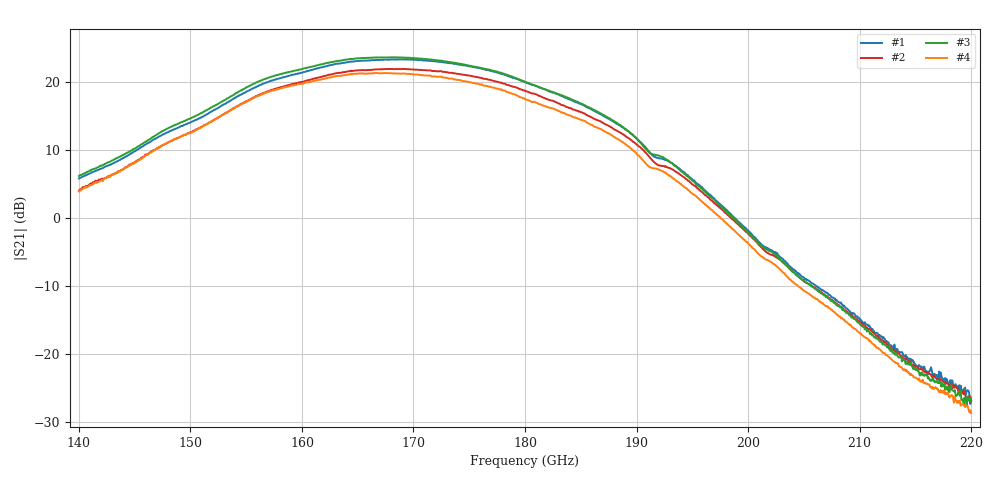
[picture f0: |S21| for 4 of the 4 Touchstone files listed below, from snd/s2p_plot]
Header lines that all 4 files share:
!Correction: S11(C  2-Port  )
!S21(C  2-Port  )
!S12(C  2-Port  )
!S22(C  2-Port  )
!S2P File: Measurements: S11, S21, S12, S22:
# Hz S  RI  R 50
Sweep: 140 GHz to 220 GHz
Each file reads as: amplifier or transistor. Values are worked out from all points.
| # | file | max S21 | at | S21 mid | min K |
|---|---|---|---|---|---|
| 1 | VDI160AMP-M2_R2 B1-08B 1.4 VB.s2p | 23.3 dB | 169.1 GHz | 19.9 dB at 180 GHz | 100.79 |
| 2 | VDI160AMP-M2_R2 B1-08B.s2p | 21.9 dB | 169 GHz | 18.6 dB at 180 GHz | 122.96 |
| 3 | VDI160AMP-M2_R2 B1-10B 1.4 VB.s2p | 23.6 dB | 168 GHz | 20.0 dB at 180 GHz | 111.01 |
| 4 | VDI160AMP-M2_R2 B1-10B.s2p | 21.3 dB | 166.6 GHz | 17.4 dB at 180 GHz | 153.90 |
